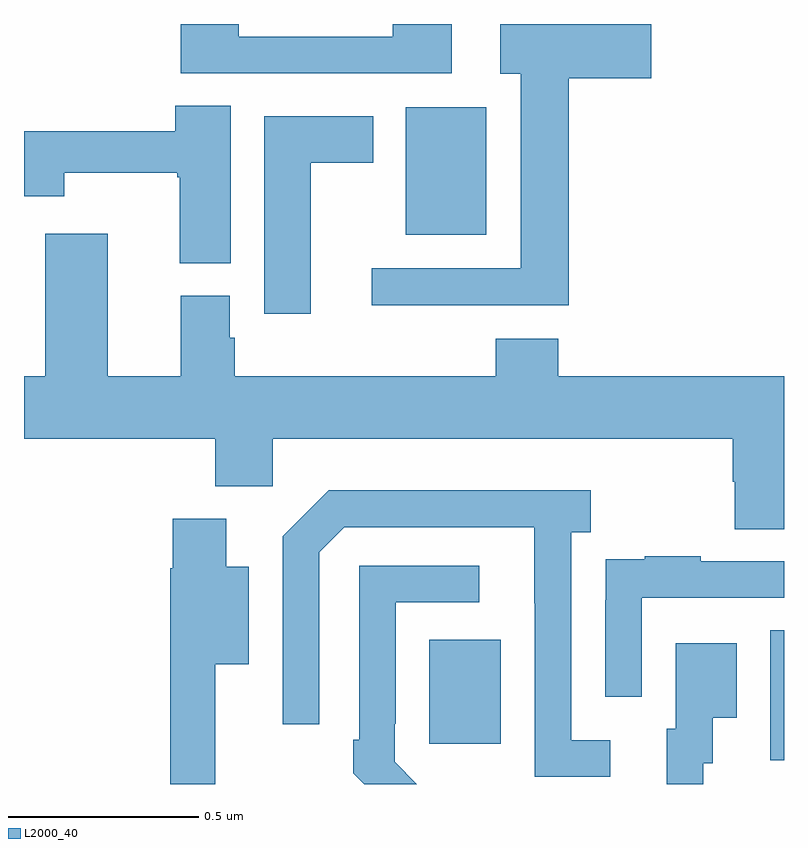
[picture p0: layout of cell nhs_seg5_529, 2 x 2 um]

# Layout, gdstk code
import gdstk
lib = gdstk.Library(unit=1e-6, precision=1e-09)
def R(c, l, rs):  # rectangles x0, y0, x1, y1
    for r in rs: c.add(gdstk.rectangle(r[:2], r[2:], *l))
def P(c, l, *ps):  # polygons
    for p in ps: c.add(gdstk.Polygon(p, *l))
L2000_40 = (2000, 40)

nhs_seg5_529 = lib.new_cell('nhs_seg5_529')
R(nhs_seg5_529, L2000_40, [(118.964,907.861,119,908.204), (118.067,907.905,118.255,908.179), (118.004,909.245,118.216,909.58)])
P(nhs_seg5_529, L2000_40, [(118.433,909.656),(118.651,909.656),(118.651,909.799),(118.253,909.799),(118.253,909.668),(118.307,909.668),(118.307,909.156),(117.915,909.156),(117.915,909.059),(118.433,909.059)],
  [(118.126,909.799),(117.97,909.799),(117.97,909.765),(117.565,909.765),(117.565,909.799),(117.413,909.799),(117.413,909.669),(118.126,909.669)],
  [(117.544,909.584),(117.398,909.584),(117.398,909.517),(117,909.517),(117,909.346),(117.106,909.346),(117.106,909.407),(117.403,909.407),(117.403,909.396),(117.41,909.396),(117.41,909.169),(117.544,909.169)],
  [(117.754,909.434),(117.919,909.434),(117.919,909.556),(117.632,909.556),(117.632,909.036),(117.754,909.036)],
  [(119,908.872),(118.406,908.872),(118.406,908.971),(118.241,908.971),(118.241,908.872),(117.554,908.872),(117.554,908.973),(117.541,908.973),(117.541,909.084),(117.413,909.084),(117.413,908.872),(117.22,908.872),(117.22,909.247),(117.056,909.247),(117.056,908.872),(117,908.872),(117,908.708),(117.503,908.708),(117.503,908.582),(117.654,908.582),(117.654,908.708),(118.865,908.708),(118.865,908.595),(118.87,908.595),(118.87,908.47),(119,908.47)],
  [(118.543,907.914),(118.44,907.914),(118.44,908.462),(118.492,908.462),(118.492,908.572),(117.802,908.572),(117.681,908.451),(117.681,907.956),(117.777,907.956),(117.777,908.409),(117.843,908.475),(118.343,908.475),(118.343,908.275),(118.344,908.275),(118.344,907.818),(118.543,907.818)],
  [(117.503,908.114),(117.592,908.114),(117.592,908.371),(117.532,908.371),(117.532,908.497),(117.392,908.497),(117.392,908.367),(117.385,908.367),(117.385,907.799),(117.503,907.799)],
  [(118.626,908.289),(119,908.289),(119,908.385),(118.781,908.385),(118.781,908.398),(118.633,908.398),(118.633,908.391),(118.531,908.391),(118.531,908.282),(118.53,908.282),(118.53,908.028),(118.626,908.028)],
  [(117.975,907.857),(117.975,907.957),(117.978,907.957),(117.978,908.277),(118.198,908.277),(118.198,908.373),(117.882,908.373),(117.882,907.915),(117.867,907.915),(117.867,907.827),(117.895,907.799),(118.033,907.799)],
  [(118.788,907.854),(118.813,907.854),(118.813,907.973),(118.876,907.973),(118.876,908.17),(118.715,908.17),(118.715,907.944),(118.691,907.944),(118.691,907.799),(118.788,907.799)])

lib.write_gds('nhs_seg5_529.gds')
